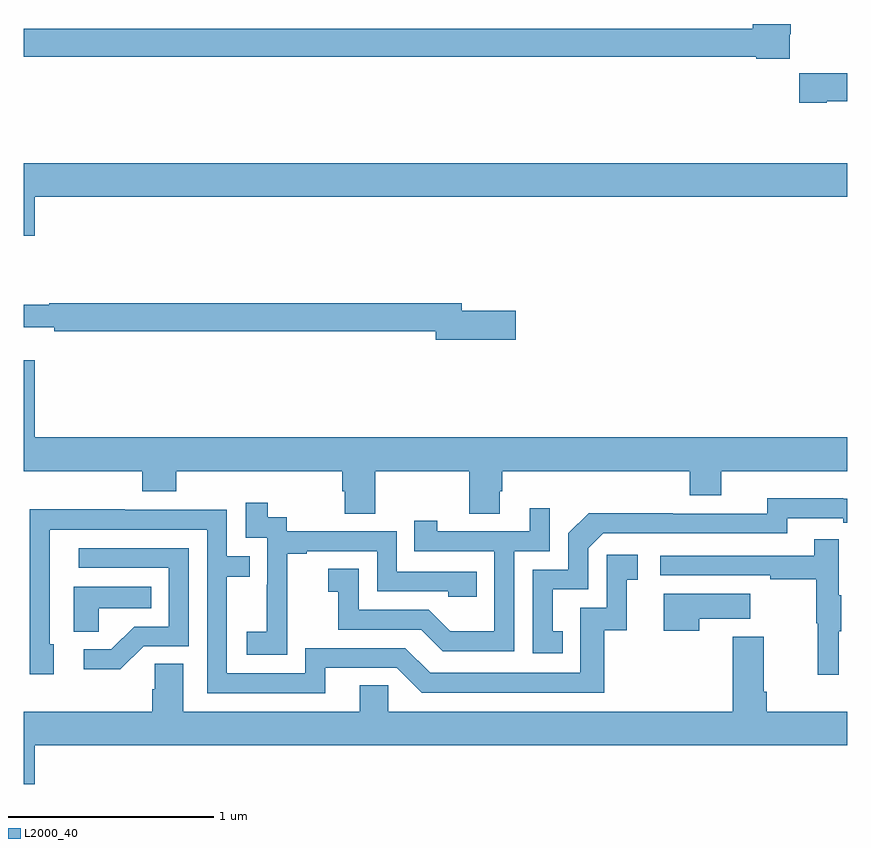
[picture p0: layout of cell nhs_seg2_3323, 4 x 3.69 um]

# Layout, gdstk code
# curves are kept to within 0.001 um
import gdstk
lib = gdstk.Library(unit=1e-6, precision=1e-09)
def P(c, l, *ps):  # polygons
    for p in ps: c.add(gdstk.Polygon(p, *l))
L2000_40 = (2000, 40)

nhs_seg2_3323 = lib.new_cell('nhs_seg2_3323')
P(nhs_seg2_3323, L2000_40, [(288.72,657.751),(288.725,657.751),(288.725,657.8),(288.542,657.8),(288.542,657.776),(285,657.776),(285,657.64),(288.558,657.64),(288.558,657.632),(288.72,657.632)],
  [(288.9,657.425),(289,657.425),(289,657.56),(288.768,657.56),(288.768,657.418),(288.9,657.418)],
  [(285.052,656.96),(289,656.96),(289,657.124),(285,657.124),(285,656.772),(285.052,656.772)],
  [(287.389,656.408),(287.128,656.408),(287.128,656.444),(285.124,656.444),(285.124,656.437),(285,656.437),(285,656.327),(285.148,656.327),(285.148,656.308),(287,656.308),(287,656.266),(287.389,656.266)],
  [(286.707,655.628),(287.164,655.628),(287.164,655.42),(287.311,655.42),(287.311,655.53),(287.324,655.53),(287.324,655.628),(288.236,655.628),(288.236,655.511),(288.388,655.511),(288.388,655.628),(289,655.628),(289,655.792),(285.052,655.792),(285.052,656.167),(285,656.167),(285,655.628),(285.575,655.628),(285.575,655.529),(285.74,655.529),(285.74,655.628),(286.547,655.628),(286.547,655.53),(286.559,655.53),(286.559,655.42),(286.707,655.42)],
  [(287.618,654.849),(287.569,654.849),(287.569,655.053),(287.742,655.053),(287.742,655.254),(287.814,655.326),(288.708,655.326),(288.708,655.398),(288.98,655.398),(288.98,655.378),(289,655.378),(289,655.494),(288.612,655.495),(288.612,655.422),(288.152,655.422),(288.152,655.424),(287.744,655.424),(287.646,655.326),(287.646,655.149),(287.472,655.149),(287.472,654.744),(287.618,654.744)],
  [(286.281,654.943),(286.28,654.943),(286.28,655.227),(286.375,655.227),(286.375,655.239),(286.716,655.239),(286.716,655.044),(287.061,655.044),(287.061,655.017),(287.201,655.017),(287.201,655.14),(286.812,655.14),(286.812,655.335),(286.278,655.335),(286.278,655.404),(286.186,655.404),(286.186,655.474),(286.077,655.474),(286.077,655.305),(286.182,655.305),(286.182,655.076),(286.181,655.076),(286.181,654.847),(286.083,654.847),(286.083,654.737),(286.281,654.737)],
  [(287.382,655.239),(287.556,655.239),(287.556,655.447),(287.459,655.447),(287.459,655.335),(287.008,655.335),(287.008,655.387),(286.897,655.387),(286.897,655.239),(287.286,655.239),(287.286,654.85),(287.072,654.85),(286.968,654.954),(286.626,654.954),(286.626,655.153),(286.479,655.153),(286.479,655.043),(286.528,655.043),(286.528,654.858),(286.931,654.858),(287.036,654.753),(287.382,654.753)],
  [(286.465,654.672),(286.812,654.672),(286.932,654.552),(287.819,654.552),(287.819,654.855),(287.93,654.855),(287.93,655.101),(287.983,655.101),(287.983,655.222),(287.832,655.222),(287.832,654.963),(287.703,654.963),(287.703,654.648),(286.974,654.648),(286.854,654.768),(286.368,654.768),(286.368,654.645),(285.987,654.645),(285.987,655.114),(286.097,655.114),(286.097,655.215),(285.987,655.215),(285.987,655.44),(285.491,655.44),(285.491,655.442),(285.028,655.442),(285.028,655.135),(285.03,655.135),(285.03,654.642),(285.145,654.642),(285.145,654.786),(285.126,654.786),(285.126,655.344),(285.891,655.344),(285.891,654.549),(286.465,654.549)],
  [(288.959,654.851),(288.97,654.851),(288.97,655.025),(288.959,655.025),(288.959,655.297),(288.841,655.297),(288.841,655.218),(288.093,655.218),(288.093,655.122),(288.625,655.122),(288.625,655.102),(288.849,655.102),(288.849,654.888),(288.856,654.888),(288.856,654.639),(288.959,654.639)],
  [(285.582,654.777),(285.801,654.777),(285.801,655.254),(285.267,655.254),(285.267,655.158),(285.705,655.158),(285.705,654.873),(285.536,654.873),(285.425,654.762),(285.291,654.762),(285.291,654.665),(285.469,654.665)],
  [(285.363,654.962),(285.62,654.962),(285.62,655.066),(285.242,655.066),(285.242,654.847),(285.363,654.847)],
  [(288.281,654.911),(288.529,654.911),(288.529,655.033),(288.11,655.033),(288.11,654.852),(288.281,654.852)],
  [(288.443,654.823),(288.443,654.46),(286.77,654.46),(286.77,654.587),(286.631,654.587),(286.631,654.46),(285.775,654.46),(285.775,654.692),(285.636,654.692),(285.636,654.569),(285.623,654.569),(285.623,654.46),(285,654.46),(285,654.108),(285.052,654.108),(285.052,654.296),(289,654.296),(289,654.46),(288.608,654.46),(288.608,654.556),(288.595,654.556),(288.595,654.823)])

lib.write_gds('nhs_seg2_3323.gds')
